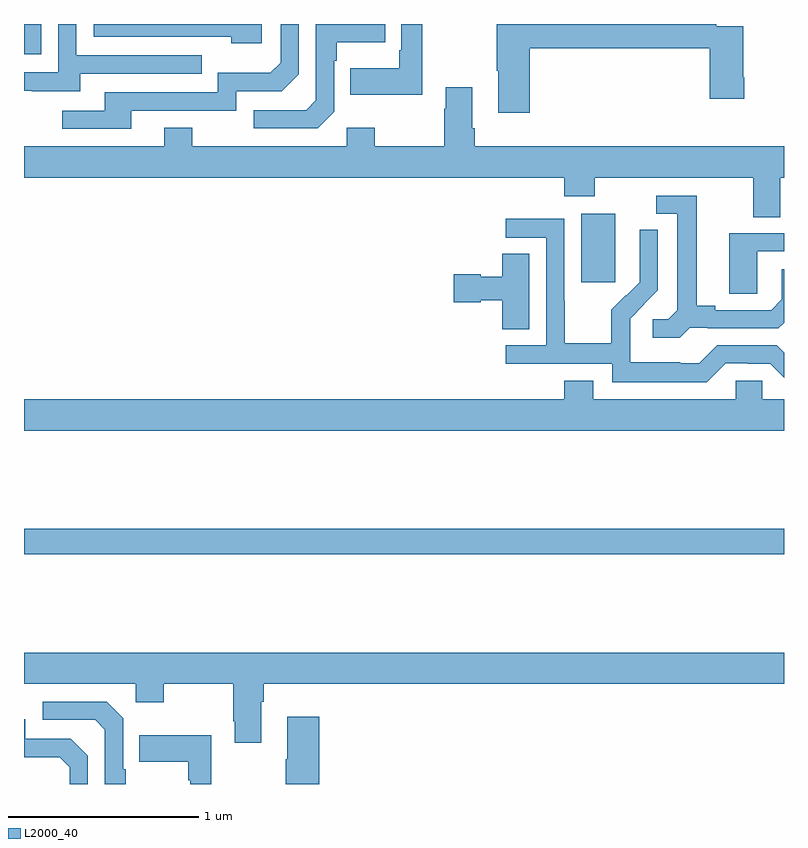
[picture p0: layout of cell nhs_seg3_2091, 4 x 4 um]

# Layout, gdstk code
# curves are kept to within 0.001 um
import gdstk
lib = gdstk.Library(unit=1e-6, precision=1e-09)
def R(c, l, rs):  # rectangles x0, y0, x1, y1
    for r in rs: c.add(gdstk.rectangle(r[:2], r[2:], *l))
def P(c, l, *ps):  # polygons
    for p in ps: c.add(gdstk.Polygon(p, *l))
L2000_40 = (2000, 40)

nhs_seg3_2091 = lib.new_cell('nhs_seg3_2091')
R(nhs_seg3_2091, L2000_40, [(219,689.608,223,689.744), (221.933,691.041,222.112,691.402), (219,692.241,219.09,692.4)])
P(nhs_seg3_2091, L2000_40, [(219.565,691.944),(220.116,691.944),(220.116,692.046),(220.356,692.046),(220.446,692.136),(220.446,692.4),(220.35,692.4),(220.35,692.196),(220.297,692.143),(220.02,692.143),(220.02,692.04),(219.425,692.04),(219.425,691.944),(219.201,691.944),(219.201,691.848),(219.565,691.848)],
  [(220.632,691.938),(220.632,692.207),(220.645,692.207),(220.645,692.303),(220.901,692.303),(220.901,692.4),(220.536,692.4),(220.536,691.998),(220.485,691.947),(220.209,691.947),(220.209,691.851),(220.545,691.851)],
  [(221.095,692.4),(220.986,692.4),(220.986,692.263),(220.974,692.263),(220.974,692.167),(220.717,692.167),(220.717,692.027),(221.095,692.027)],
  [(219.295,692.139),(219.935,692.139),(219.935,692.235),(219.276,692.235),(219.276,692.4),(219.18,692.4),(219.18,692.145),(219,692.145),(219,692.049),(219.041,692.049),(219.041,692.045),(219.295,692.045)],
  [(221.663,692.272),(222.608,692.272),(222.608,692.007),(222.791,692.007),(222.791,692.119),(222.786,692.119),(222.786,692.388),(222.644,692.388),(222.644,692.4),(221.488,692.4),(221.488,692.155),(221.495,692.155),(221.495,691.932),(221.663,691.932)],
  [(220.252,692.4),(219.366,692.4),(219.366,692.334),(220.091,692.334),(220.091,692.3),(220.252,692.3)],
  [(222.979,691.592),(223,691.592),(223,691.756),(221.372,691.756),(221.372,691.852),(221.359,691.852),(221.359,692.068),(221.219,692.068),(221.219,691.955),(221.212,691.955),(221.212,691.756),(220.845,691.756),(220.845,691.855),(220.698,691.855),(220.698,691.756),(219.885,691.756),(219.885,691.855),(219.737,691.855),(219.737,691.756),(219,691.756),(219,691.592),(221.843,691.592),(221.843,691.493),(222.003,691.493),(222.003,691.592),(222.839,691.592),(222.839,691.384),(222.979,691.384)],
  [(222.504,690.801),(222.598,690.801),(222.598,690.798),(222.97,690.798),(223,690.828),(223,691.108),(222.989,691.108),(222.989,690.951),(222.932,690.894),(222.637,690.894),(222.637,690.917),(222.541,690.917),(222.541,691.497),(222.327,691.497),(222.327,691.401),(222.437,691.401),(222.437,690.893),(222.39,690.846),(222.309,690.846),(222.309,690.749),(222.452,690.749)],
  [(222.693,690.615),(222.809,690.615),(222.809,690.612),(222.927,690.612),(223,690.539),(223,690.671),(222.963,690.708),(222.648,690.708),(222.555,690.615),(222.455,690.615),(222.455,690.619),(222.192,690.619),(222.192,690.753),(222.19,690.753),(222.19,690.85),(222.336,690.998),(222.336,691.316),(222.24,691.316),(222.24,691.162),(222.242,691.162),(222.242,691.04),(222.171,690.969),(222.168,690.972),(222.091,690.895),(222.091,690.721),(221.847,690.721),(221.847,690.944),(221.844,690.944),(221.844,691.374),(221.535,691.374),(221.535,691.275),(221.748,691.275),(221.748,690.708),(221.535,690.708),(221.535,690.612),(222.096,690.612),(222.096,690.515),(222.593,690.515)],
  [(222.858,691.203),(223,691.203),(223,691.299),(222.713,691.299),(222.713,690.979),(222.858,690.979)],
  [(221.659,691.19),(221.516,691.19),(221.516,691.069),(221.403,691.069),(221.403,691.082),(221.262,691.082),(221.262,690.935),(221.403,690.935),(221.403,690.947),(221.516,690.947),(221.516,690.793),(221.659,690.793)],
  [(223,690.424),(222.885,690.424),(222.885,690.522),(222.747,690.522),(222.747,690.424),(221.995,690.424),(221.995,690.523),(221.843,690.523),(221.843,690.424),(219,690.424),(219,690.26),(223,690.26)],
  [(220.249,688.832),(220.262,688.832),(220.262,688.928),(223,688.928),(223,689.092),(219,689.092),(219,688.928),(219.588,688.928),(219.588,688.829),(219.735,688.829),(219.735,688.928),(220.102,688.928),(220.102,688.729),(220.109,688.729),(220.109,688.617),(220.249,688.617)],
  [(219.535,688.477),(219.522,688.477),(219.522,688.746),(219.435,688.833),(219.099,688.833),(219.099,688.737),(219.375,688.737),(219.426,688.686),(219.426,688.4),(219.535,688.4)],
  [(220.553,688.753),(220.385,688.753),(220.385,688.529),(220.378,688.529),(220.378,688.4),(220.553,688.4)],
  [(219.336,688.548),(219.246,688.638),(219.006,688.638),(219.006,688.74),(219,688.74),(219,688.541),(219.187,688.541),(219.24,688.488),(219.24,688.4),(219.336,688.4)],
  [(219.985,688.657),(219.607,688.657),(219.607,688.517),(219.864,688.517),(219.864,688.421),(219.876,688.421),(219.876,688.4),(219.985,688.4)])

lib.write_gds('nhs_seg3_2091.gds')
